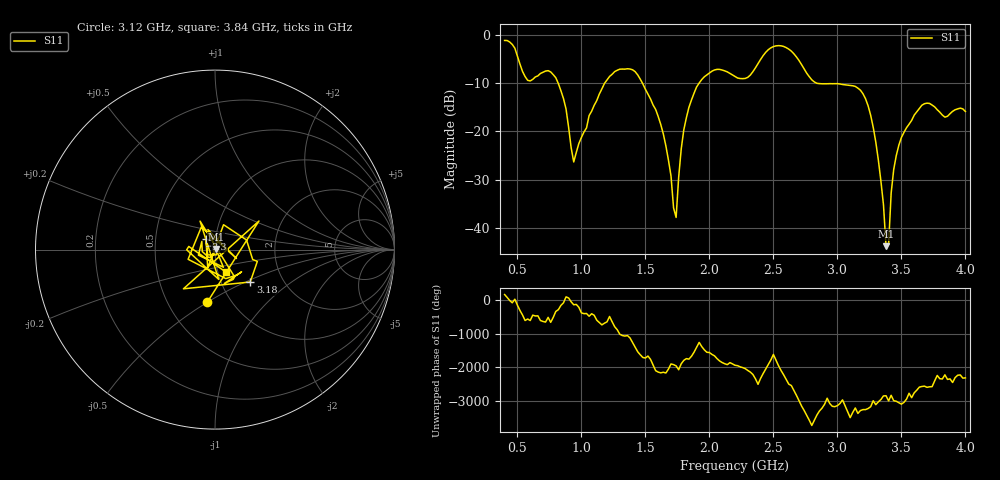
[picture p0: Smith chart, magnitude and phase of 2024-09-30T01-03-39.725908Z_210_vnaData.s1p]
!Created with skrf (http://scikit-rf.org).
# Hz S RI R 50.0
!freq ReS11 ImS11
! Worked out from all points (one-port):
!   181 points, 400 MHz to 4 GHz, reference 50 ohm
!   lowest |S11| = -43.8 dB at 3.38 GHz (marker M1), VSWR 1.01, Z = 50.5 + j0.376 ohm
!   |S11| at or under -10 dB: 818.1 MHz to 1.182 GHz (364.1 MHz wide, 36.4 % of centre); 1.477 GHz to 1.92 GHz (443.5 MHz wide, 26.1 % of centre); 2.836 GHz to end of sweep
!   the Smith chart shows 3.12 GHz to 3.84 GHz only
!   S11 on the Smith chart (normalised r, x): 3.12 GHz: 0.78, -0.50; 3.18 GHz: 1.37, -0.53; 3.3 GHz: 0.90, +0.11; 3.84 GHz: 1.09, -0.28
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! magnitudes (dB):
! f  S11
! 400 MHz  -1.2
! 580 MHz  -9.4
! 760 MHz  -7.7
! 860 MHz  -13.2
! 940 MHz  -26.4
! 1.18 GHz  -10.1
! 1.3 GHz  -7.1
! 1.58 GHz  -15.5
! 1.66 GHz  -23.0
! 1.74 GHz  -37.9
! 1.76 GHz  -29.5
! 1.8 GHz  -19.7
! 1.9 GHz  -10.8
! 2.2 GHz  -8.6
! 2.66 GHz  -3.9
! 2.82 GHz  -9.8
! 3.1 GHz  -10.5
! 3.12 GHz  -10.6
! 3.18 GHz  -11.5
! 3.3 GHz  -22.2
! 3.38 GHz  -43.8
! 3.4 GHz  -43.5
! 3.42 GHz  -32.8
! 3.46 GHz  -25.0
! 3.56 GHz  -18.5
! 3.7 GHz  -14.2
! 3.84 GHz  -17.1
! 4 GHz  -15.9
